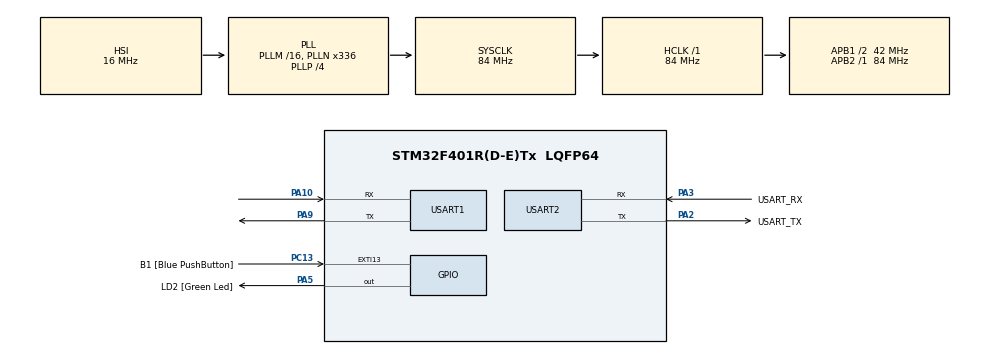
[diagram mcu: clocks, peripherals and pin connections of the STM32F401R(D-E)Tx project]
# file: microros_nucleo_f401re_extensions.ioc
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Dma.Request0=USART2_RX
Dma.Request1=USART2_TX
Dma.Request2=USART1_RX
Dma.Request3=USART1_TX
Dma.USART1_RX.2.Direction=DMA_PERIPH_TO_MEMORY
Dma.USART1_RX.2.FIFOMode=DMA_FIFOMODE_DISABLE
Dma.USART1_RX.2.Instance=DMA2_Stream2
Dma.USART1_RX.2.MemDataAlignment=DMA_MDATAALIGN_BYTE
Dma.USART1_RX.2.MemInc=DMA_MINC_ENABLE
Dma.USART1_RX.2.Mode=DMA_NORMAL
Dma.USART1_RX.2.PeriphDataAlignment=DMA_PDATAALIGN_BYTE
Dma.USART1_RX.2.PeriphInc=DMA_PINC_DISABLE
Dma.USART1_RX.2.Priority=DMA_PRIORITY_LOW
Dma.USART1_TX.3.Direction=DMA_MEMORY_TO_PERIPH
Dma.USART1_TX.3.FIFOMode=DMA_FIFOMODE_DISABLE
Dma.USART1_TX.3.Instance=DMA2_Stream7
Dma.USART1_TX.3.MemDataAlignment=DMA_MDATAALIGN_BYTE
Dma.USART1_TX.3.MemInc=DMA_MINC_ENABLE
Dma.USART1_TX.3.Mode=DMA_NORMAL
Dma.USART1_TX.3.PeriphDataAlignment=DMA_PDATAALIGN_BYTE
Dma.USART1_TX.3.PeriphInc=DMA_PINC_DISABLE
Dma.USART1_TX.3.Priority=DMA_PRIORITY_LOW
Dma.USART2_RX.0.Direction=DMA_PERIPH_TO_MEMORY
Dma.USART2_RX.0.FIFOMode=DMA_FIFOMODE_DISABLE
Dma.USART2_RX.0.Instance=DMA1_Stream5
Dma.USART2_RX.0.MemDataAlignment=DMA_MDATAALIGN_BYTE
Dma.USART2_RX.0.MemInc=DMA_MINC_ENABLE
Dma.USART2_RX.0.Mode=DMA_CIRCULAR
Dma.USART2_RX.0.PeriphDataAlignment=DMA_PDATAALIGN_BYTE
Dma.USART2_RX.0.PeriphInc=DMA_PINC_DISABLE
Dma.USART2_RX.0.Priority=DMA_PRIORITY_LOW
Dma.USART2_TX.1.Direction=DMA_MEMORY_TO_PERIPH
Dma.USART2_TX.1.FIFOMode=DMA_FIFOMODE_DISABLE
Dma.USART2_TX.1.Instance=DMA1_Stream6
Dma.USART2_TX.1.MemDataAlignment=DMA_MDATAALIGN_BYTE
Dma.USART2_TX.1.MemInc=DMA_MINC_ENABLE
Dma.USART2_TX.1.Mode=DMA_NORMAL
Dma.USART2_TX.1.PeriphDataAlignment=DMA_PDATAALIGN_BYTE
Dma.USART2_TX.1.PeriphInc=DMA_PINC_DISABLE
Dma.USART2_TX.1.Priority=DMA_PRIORITY_LOW
FREERTOS.Tasks01=microROS_app,25,512,appMain,Default,NULL,Dynamic,NULL,NULL;StartTask,8,512,StartDefaultTask,Default,NULL,Dynamic,NULL,NULL
FREERTOS.configENABLE_FPU=1
FREERTOS.configUSE_APPLICATION_TASK_TAG=1
FREERTOS.configUSE_POSIX_ERRNO=1
FREERTOS.configUSE_STATS_FORMATTING_FUNCTIONS=1
Mcu.Family=STM32F4
Mcu.Name=STM32F401R(D-E)Tx
Mcu.Package=LQFP64
NVIC.DMA1_Stream5_IRQn=true\:5\:0\:false\:false\:true\:true\:false\:true
NVIC.DMA1_Stream6_IRQn=true\:5\:0\:false\:false\:true\:true\:false\:true
NVIC.DMA2_Stream2_IRQn=true\:5\:0\:false\:false\:true\:true\:false\:true
NVIC.DMA2_Stream7_IRQn=true\:5\:0\:false\:false\:true\:true\:false\:true
NVIC.PriorityGroup=NVIC_PRIORITYGROUP_4
NVIC.TIM1_UP_TIM10_IRQn=true\:0\:0\:false\:false\:true\:false\:false\:true
NVIC.TimeBase=TIM1_UP_TIM10_IRQn
NVIC.TimeBaseIP=TIM1
NVIC.USART1_IRQn=true\:5\:0\:false\:false\:true\:true\:true\:true
NVIC.USART2_IRQn=true\:5\:0\:false\:false\:true\:true\:true\:true
PA10.Mode=Asynchronous
PA10.Signal=USART1_RX
PA13.GPIO_Label=TMS
PA13.Mode=Serial_Wire
PA13.Signal=SYS_JTMS-SWDIO
PA14.GPIO_Label=TCK
PA14.Mode=Serial_Wire
PA14.Signal=SYS_JTCK-SWCLK
PA2.GPIO_Label=USART_TX
PA2.GPIO_Mode=GPIO_MODE_AF_PP
PA2.GPIO_PuPd=GPIO_NOPULL
PA2.GPIO_Speed=GPIO_SPEED_FREQ_LOW
PA2.Mode=Asynchronous
PA2.Signal=USART2_TX
PA3.GPIO_Label=USART_RX
PA3.GPIO_Mode=GPIO_MODE_AF_PP
PA3.GPIO_PuPd=GPIO_NOPULL
PA3.GPIO_Speed=GPIO_SPEED_FREQ_LOW
PA3.Mode=Asynchronous
PA3.Signal=USART2_RX
PA5.GPIO_Label=LD2 [Green Led]
PA5.GPIO_Mode=GPIO_MODE_OUTPUT_PP
PA5.GPIO_PuPd=GPIO_NOPULL
PA5.GPIO_Speed=GPIO_SPEED_FREQ_LOW
PA5.Signal=GPIO_Output
PA9.Mode=Asynchronous
PA9.Signal=USART1_TX
PB3.GPIO_Label=SWO
PB3.Signal=SYS_JTDO-SWO
PC13-ANTI_TAMP.GPIO_Label=B1 [Blue PushButton]
PC13-ANTI_TAMP.GPIO_ModeDefaultEXTI=GPIO_MODE_IT_FALLING
PC13-ANTI_TAMP.GPIO_PuPd=GPIO_NOPULL
PC13-ANTI_TAMP.Signal=GPXTI13
PC14-OSC32_IN.Mode=LSE-External-Oscillator
PC14-OSC32_IN.Signal=RCC_OSC32_IN
PC15-OSC32_OUT.Mode=LSE-External-Oscillator
PC15-OSC32_OUT.Signal=RCC_OSC32_OUT
PH0\ -\ OSC_IN.Mode=HSE-External-Clock-Source
PH0\ -\ OSC_IN.Signal=RCC_OSC_IN
PH1\ -\ OSC_OUT.Mode=HSE-External-Clock-Source
PH1\ -\ OSC_OUT.Signal=RCC_OSC_OUT
ProjectManager.HeapSize=0x200
ProjectManager.StackSize=0x400
ProjectManager.TargetToolchain=STM32CubeIDE
RCC.48MHZClocksFreq_Value=48000000
RCC.AHBFreq_Value=84000000
RCC.APB1CLKDivider=RCC_HCLK_DIV2
RCC.APB1Freq_Value=42000000
RCC.APB1TimFreq_Value=84000000
RCC.APB2Freq_Value=84000000
RCC.APB2TimFreq_Value=84000000
RCC.CortexFreq_Value=84000000
RCC.HCLKFreq_Value=84000000
RCC.HSE_VALUE=8000000
RCC.HSI_VALUE=16000000
RCC.PLLN=336
RCC.PLLP=RCC_PLLP_DIV4
RCC.PLLQ=7
RCC.SYSCLKFreq_VALUE=84000000
RCC.SYSCLKSource=RCC_SYSCLKSOURCE_PLLCLK
RCC.VCOOutputFreq_Value=336000000
USART1.VirtualMode=VM_ASYNC
USART2.VirtualMode=VM_ASYNC
VP_FREERTOS_VS_CMSIS_V2.Mode=CMSIS_V2
VP_SYS_VS_tim1.Mode=TIM1
board=NUCLEO-F401RE

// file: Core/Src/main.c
/* USER CODE BEGIN Header */
/**
  ******************************************************************************
  * @file           : main.c
  * @brief          : Main program body
  ******************************************************************************
  * @attention
  *
  * <h2><center>&copy; Copyright (c) 2021 STMicroelectronics.
  * All rights reserved.</center></h2>
  *
  * This software component is licensed by ST under BSD 3-Clause license,
  * the "License"; You may not use this file except in compliance with the
  * License. You may obtain a copy of the License at:
  *                        opensource.org/licenses/BSD-3-Clause
  *
  ******************************************************************************
  */
/* USER CODE END Header */
#include "main.h"
#include "cmsis_os.h"

/* USER CODE BEGIN Includes */
#include <stdbool.h>
#include "allocators.h"
#include "cmsis_os2.h"

#include <rcl/rcl.h>
#include <rmw_microxrcedds_c/config.h>
#include <ucdr/microcdr.h>
#include <uxr/client/client.h>

#include <rmw_microros/rmw_microros.h>

#include <microros_transports.h>
/* USER CODE END Includes */

UART_HandleTypeDef huart1;
UART_HandleTypeDef huart2;
DMA_HandleTypeDef hdma_usart1_rx;
DMA_HandleTypeDef hdma_usart1_tx;
DMA_HandleTypeDef hdma_usart2_rx;
DMA_HandleTypeDef hdma_usart2_tx;

/* Definitions for microROS_app */
osThreadId_t microROS_appHandle;
const osThreadAttr_t microROS_app_attributes = {
  .name = "microROS_app",
  .priority = (osPriority_t) osPriorityNormal1,
  .stack_size = 512 * 4
};
/* Definitions for StartTask */
osThreadId_t StartTaskHandle;
const osThreadAttr_t StartTask_attributes = {
  .name = "StartTask",
  .priority = (osPriority_t) osPriorityLow,
  .stack_size = 512 * 4
};

void SystemClock_Config(void);
static void MX_GPIO_Init(void);
static void MX_DMA_Init(void);
static void MX_USART2_UART_Init(void);
static void MX_USART1_UART_Init(void);
void appMain(void *argument);
void StartDefaultTask(void *argument);

int main(void)
{

  /* MCU Configuration--------------------------------------------------------*/

  /* Reset of all peripherals, Initializes the Flash interface and the Systick. */
  HAL_Init();

  /* Configure the system clock */
  SystemClock_Config();

  /* Initialize all configured peripherals */
  MX_GPIO_Init();
  MX_DMA_Init();
  MX_USART2_UART_Init();
  MX_USART1_UART_Init();

  /* Init scheduler */
  osKernelInitialize();

  /* Create the thread(s) */

  /* creation of StartTask */
  StartTaskHandle = osThreadNew(StartDefaultTask, NULL, &StartTask_attributes);

  /* USER CODE BEGIN RTOS_THREADS */
  /* add threads, ... */
  /* creation of StartTask */
  //StartTaskHandle = osThreadNew(StartDefaultTask, NULL, &StartTask_attributes);

  /* USER CODE END RTOS_THREADS */

  /* Start scheduler */
  osKernelStart();

  /* We should never get here as control is now taken by the scheduler */
  /* Infinite loop */
  while (1)
  {

  }
}

void SystemClock_Config(void)
{
  RCC_OscInitTypeDef RCC_OscInitStruct = {0};
  RCC_ClkInitTypeDef RCC_ClkInitStruct = {0};

  /** Configure the main internal regulator output voltage
  */
  __HAL_RCC_PWR_CLK_ENABLE();
  __HAL_PWR_VOLTAGESCALING_CONFIG(PWR_REGULATOR_VOLTAGE_SCALE2);
  /** Initializes the RCC Oscillators according to the specified parameters
  * in the RCC_OscInitTypeDef structure.
  */
  RCC_OscInitStruct.OscillatorType = RCC_OSCILLATORTYPE_HSI;
  RCC_OscInitStruct.HSIState = RCC_HSI_ON;
  RCC_OscInitStruct.HSICalibrationValue = RCC_HSICALIBRATION_DEFAULT;
  RCC_OscInitStruct.PLL.PLLState = RCC_PLL_ON;
  RCC_OscInitStruct.PLL.PLLSource = RCC_PLLSOURCE_HSI;
  RCC_OscInitStruct.PLL.PLLM = 16;
  RCC_OscInitStruct.PLL.PLLN = 336;
  RCC_OscInitStruct.PLL.PLLP = RCC_PLLP_DIV4;
  RCC_OscInitStruct.PLL.PLLQ = 7;
  if (HAL_RCC_OscConfig(&RCC_OscInitStruct) != HAL_OK)
  {
    Error_Handler();
  }
  /** Initializes the CPU, AHB and APB buses clocks
  */
  RCC_ClkInitStruct.ClockType = RCC_CLOCKTYPE_HCLK|RCC_CLOCKTYPE_SYSCLK
                              |RCC_CLOCKTYPE_PCLK1|RCC_CLOCKTYPE_PCLK2;
  RCC_ClkInitStruct.SYSCLKSource = RCC_SYSCLKSOURCE_PLLCLK;
  RCC_ClkInitStruct.AHBCLKDivider = RCC_SYSCLK_DIV1;
  RCC_ClkInitStruct.APB1CLKDivider = RCC_HCLK_DIV2;
  RCC_ClkInitStruct.APB2CLKDivider = RCC_HCLK_DIV1;

  if (HAL_RCC_ClockConfig(&RCC_ClkInitStruct, FLASH_LATENCY_2) != HAL_OK)
  {
    Error_Handler();
  }
}

static void MX_USART1_UART_Init(void)
{

  huart1.Instance = USART1;
  huart1.Init.BaudRate = 115200;
  huart1.Init.WordLength = UART_WORDLENGTH_8B;
  huart1.Init.StopBits = UART_STOPBITS_1;
  huart1.Init.Parity = UART_PARITY_NONE;
  huart1.Init.Mode = UART_MODE_TX_RX;
  huart1.Init.HwFlowCtl = UART_HWCONTROL_NONE;
  huart1.Init.OverSampling = UART_OVERSAMPLING_16;
  if (HAL_UART_Init(&huart1) != HAL_OK)
  {
    Error_Handler();
  }

}

static void MX_USART2_UART_Init(void)
{

  huart2.Instance = USART2;
  huart2.Init.BaudRate = 115200;
  huart2.Init.WordLength = UART_WORDLENGTH_8B;
  huart2.Init.StopBits = UART_STOPBITS_1;
  huart2.Init.Parity = UART_PARITY_NONE;
  huart2.Init.Mode = UART_MODE_TX_RX;
  huart2.Init.HwFlowCtl = UART_HWCONTROL_NONE;
  huart2.Init.OverSampling = UART_OVERSAMPLING_16;
  if (HAL_UART_Init(&huart2) != HAL_OK)
  {
    Error_Handler();
  }

}

static void MX_DMA_Init(void)
{

  /* DMA controller clock enable */
  __HAL_RCC_DMA1_CLK_ENABLE();
  __HAL_RCC_DMA2_CLK_ENABLE();

  /* DMA interrupt init */
  /* DMA1_Stream5_IRQn interrupt configuration */
  HAL_NVIC_SetPriority(DMA1_Stream5_IRQn, 5, 0);
  HAL_NVIC_EnableIRQ(DMA1_Stream5_IRQn);
  /* DMA1_Stream6_IRQn interrupt configuration */
  HAL_NVIC_SetPriority(DMA1_Stream6_IRQn, 5, 0);
  HAL_NVIC_EnableIRQ(DMA1_Stream6_IRQn);
  /* DMA2_Stream2_IRQn interrupt configuration */
  HAL_NVIC_SetPriority(DMA2_Stream2_IRQn, 5, 0);
  HAL_NVIC_EnableIRQ(DMA2_Stream2_IRQn);
  /* DMA2_Stream7_IRQn interrupt configuration */
  HAL_NVIC_SetPriority(DMA2_Stream7_IRQn, 5, 0);
  HAL_NVIC_EnableIRQ(DMA2_Stream7_IRQn);

}

static void MX_GPIO_Init(void)
{
  GPIO_InitTypeDef GPIO_InitStruct = {0};

  /* GPIO Ports Clock Enable */
  __HAL_RCC_GPIOC_CLK_ENABLE();
  __HAL_RCC_GPIOH_CLK_ENABLE();
  __HAL_RCC_GPIOA_CLK_ENABLE();
  __HAL_RCC_GPIOB_CLK_ENABLE();

  /*Configure GPIO pin Output Level */
  HAL_GPIO_WritePin(LD2_GPIO_Port, LD2_Pin, GPIO_PIN_RESET);

  /*Configure GPIO pin : B1_Pin */
  GPIO_InitStruct.Pin = B1_Pin;
  GPIO_InitStruct.Mode = GPIO_MODE_IT_FALLING;
  GPIO_InitStruct.Pull = GPIO_NOPULL;
  HAL_GPIO_Init(B1_GPIO_Port, &GPIO_InitStruct);

  /*Configure GPIO pin : LD2_Pin */
  GPIO_InitStruct.Pin = LD2_Pin;
  GPIO_InitStruct.Mode = GPIO_MODE_OUTPUT_PP;
  GPIO_InitStruct.Pull = GPIO_NOPULL;
  GPIO_InitStruct.Speed = GPIO_SPEED_FREQ_LOW;
  HAL_GPIO_Init(LD2_GPIO_Port, &GPIO_InitStruct);

}

void StartDefaultTask(void *argument)
{
  /* USER CODE BEGIN StartDefaultTask */

	bool availableNetwork = false;

	#ifdef RMW_UXRCE_TRANSPORT_CUSTOM
	  availableNetwork = true;
	  rmw_uros_set_custom_transport(
	    true,
	    (void *) &huart2,
	    freertos_serial_open,
	    freertos_serial_close,
	    freertos_serial_write,
	    freertos_serial_read);
	#elif defined(RMW_UXRCE_TRANSPORT_UDP)
	  printf("Ethernet Initialization\r\n");

	  // Waiting for an IP
	  printf("Waiting for IP\r\n");
	  int retries = 0;
	  while (gnetif.ip_addr.addr == 0 && retries < 10) {
	    osDelay(500);
	    retries++;
	  };

	  availableNetwork = (gnetif.ip_addr.addr != 0);
	  if (availableNetwork) {
	    printf("IP: %s\r\n", ip4addr_ntoa(&gnetif.ip_addr));
	  } else {
	    printf("Impossible to retrieve an IP\n");
	  }
	#endif

	  // Launch app thread when IP configured
	  rcl_allocator_t freeRTOS_allocator = rcutils_get_zero_initialized_allocator();
	  freeRTOS_allocator.allocate = __freertos_allocate;
	  freeRTOS_allocator.deallocate = __freertos_deallocate;
	  freeRTOS_allocator.reallocate = __freertos_reallocate;
	  freeRTOS_allocator.zero_allocate = __freertos_zero_allocate;

	  if (!rcutils_set_default_allocator(&freeRTOS_allocator))
	  {
	    printf("Error on default allocators (line %d)\n", __LINE__);
	  }

	  //	Start uROS main application
	  microROS_appHandle = osThreadNew(appMain, NULL, &microROS_app_attributes);

	  //osThreadNew(appMain, NULL, &attributes);
	  osDelay(500);
	  char ptrTaskList[500];
	  vTaskList(ptrTaskList);
	  printf("**********************************\n");
	  printf("Task  State   Prio    Stack    Num\n");
	  printf("**********************************\n");
	  printf(ptrTaskList);
	  printf("**********************************\n");

	  TaskHandle_t xHandle;
	  xHandle = xTaskGetHandle("microROS_app");

	  while (1)
	  {
	    if (eTaskGetState(xHandle) != eSuspended && availableNetwork)
	    {
	      HAL_GPIO_WritePin(LD2_GPIO_Port, LD2_Pin, GPIO_PIN_RESET);
	      osDelay(1000);
	      HAL_GPIO_WritePin(LD2_GPIO_Port, LD2_Pin, GPIO_PIN_SET);
	      osDelay(1000);
	      HAL_GPIO_WritePin(LD2_GPIO_Port, LD2_Pin, GPIO_PIN_RESET);
	      osDelay(3000);
	      HAL_GPIO_WritePin(LD2_GPIO_Port, LD2_Pin, GPIO_PIN_SET);
	      osDelay(3000);
	    }
	    else
	    {
	    	HAL_GPIO_TogglePin(LD2_GPIO_Port, LD2_Pin);
	    	osDelay(30);
	    }
	  }
  /* USER CODE END StartDefaultTask */
}

 /**
  * @brief  Period elapsed callback in non blocking mode
  * @note   This function is called  when TIM1 interrupt took place, inside
  * HAL_TIM_IRQHandler(). It makes a direct call to HAL_IncTick() to increment
  * a global variable "uwTick" used as application time base.
  * @param  htim : TIM handle
  * @retval None
  */
void HAL_TIM_PeriodElapsedCallback(TIM_HandleTypeDef *htim)
{
  if (htim->Instance == TIM1) {
    HAL_IncTick();
  }
}

void Error_Handler(void)
{
  __disable_irq();
  while (1)
  {
  }
}

/************************ (C) COPYRIGHT STMicroelectronics *****END OF FILE****/
